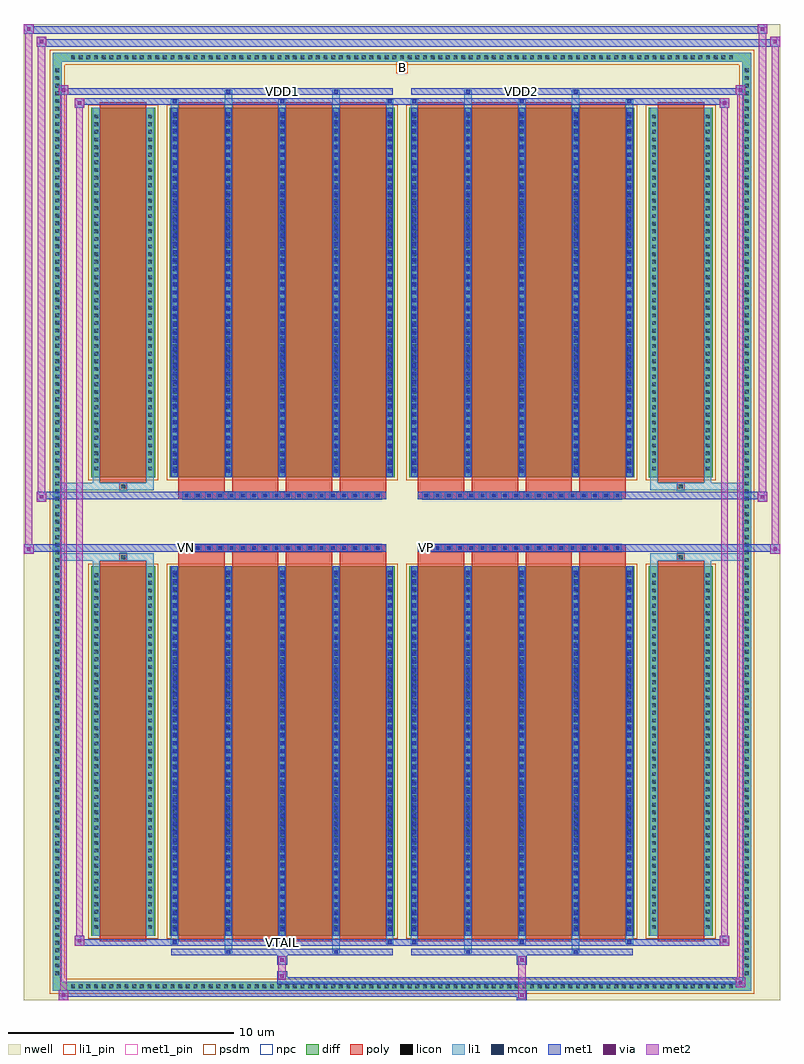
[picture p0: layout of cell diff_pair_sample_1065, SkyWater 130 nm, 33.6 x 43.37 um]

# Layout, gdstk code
import gdstk
lib = gdstk.Library(unit=1e-6, precision=5e-09)
def R(c, l, rs):  # rectangles x0, y0, x1, y1
    for r in rs: c.add(gdstk.rectangle(r[:2], r[2:], *l))
def A(c, l, x, y, w, h, nx, ny, dx, dy):  # array of equal rectangles
    R(c, l, [(x+i*dx, y+j*dy, x+i*dx+w, y+j*dy+h) for i in range(nx) for j in range(ny)])
def P(c, l, *ps):  # polygons
    for p in ps: c.add(gdstk.Polygon(p, *l))
nwell = (64, 20)
diff = (65, 20)
poly = (66, 20)
licon = (66, 44)
li1_pin = (67, 16)
li1 = (67, 20)
mcon = (67, 44)
met1_pin = (68, 16)
met1 = (68, 20)
via = (68, 44)
met2 = (69, 20)
psdm = (94, 20)
npc = (95, 20)

diff_pair_sample_1065 = lib.new_cell('diff_pair_sample_1065')
R(diff_pair_sample_1065, nwell, [(-16.8,-21.25,16.8,22.12), (-14.12,-19.44,-0.01,-0.8), (0.01,-19.44,14.12,-0.8), (-14.12,0.8,-0.01,19.44), (0.01,0.8,14.12,19.44)])
A(diff_pair_sample_1065, diff, -14.825, -20.85, 0.41, 0.41, 87, 2, 0.34, 41.29)
A(diff_pair_sample_1065, diff, -15.53, -20.265, 0.41, 0.41, 1, 119, 0, 0.34)
A(diff_pair_sample_1065, diff, 15.12, -20.265, 0.41, 0.41, 1, 119, 0, 0.34)
R(diff_pair_sample_1065, diff, [(-14.825,-20.85,14.825,-20.44), (-15.53,-20.265,-15.12,20.265), (15.12,-20.265,15.53,20.265), (-13.81,-18.395,-10.97,-1.985), (-10.33,-18.395,-0.32,-1.985), (0.32,-18.395,10.33,-1.985), (10.97,-18.395,13.81,-1.985), (-13.81,1.985,-10.97,18.395), (-10.33,1.985,-0.32,18.395), (0.32,1.985,10.33,18.395), (10.97,1.985,13.81,18.395), (-14.825,20.44,14.825,20.85)])
P(diff_pair_sample_1065, diff, [(15.53,20.85),(-15.53,20.85),(-15.53,-20.44),(-15.12,-20.44),(-15.12,20.44),(15.12,20.44),(15.12,-20.44),(-15.12,-20.44),(-15.53,-20.44),(-15.53,-20.85),(15.53,-20.85)])
A(diff_pair_sample_1065, poly, -9.94, -18.645, 2.06, 16.91, 4, 2, 2.39, 20.38)
A(diff_pair_sample_1065, poly, 0.71, -18.645, 2.06, 16.91, 4, 2, 2.39, 20.38)
A(diff_pair_sample_1065, poly, -9.94, -1.735, 2.06, 0.405, 4, 2, 2.39, 3.065)
A(diff_pair_sample_1065, poly, 0.71, -1.735, 2.06, 0.405, 4, 2, 2.39, 3.065)
A(diff_pair_sample_1065, poly, -9.74, -1.33, 0.33, 0.33, 18, 2, 0.5, 2.33)
A(diff_pair_sample_1065, poly, 0.91, -1.33, 0.33, 0.33, 18, 2, 0.5, 2.33)
R(diff_pair_sample_1065, poly, [(-13.42,-18.645,-11.36,-1.735), (11.36,-18.645,13.42,-1.735), (-12.555,-1.735,-12.225,-1.405), (-12.555,-1.735,-12.225,-1.405), (12.225,-1.735,12.555,-1.405), (12.225,-1.735,12.555,-1.405), (-9.94,-1.33,-0.71,-1), (0.71,-1.33,9.94,-1), (-9.94,1,-0.71,1.33), (0.71,1,9.94,1.33), (-12.555,1.405,-12.225,1.735), (-12.555,1.405,-12.225,1.735), (12.225,1.405,12.555,1.735), (12.225,1.405,12.555,1.735), (-13.42,1.735,-11.36,18.645), (11.36,1.735,13.42,18.645)])
A(diff_pair_sample_1065, licon, -14.705, -20.73, 0.17, 0.17, 87, 2, 0.34, 41.29)
A(diff_pair_sample_1065, licon, -15.41, -20.145, 0.17, 0.17, 1, 119, 0, 0.34)
A(diff_pair_sample_1065, licon, 15.24, -20.145, 0.17, 0.17, 1, 119, 0, 0.34)
A(diff_pair_sample_1065, licon, -13.67, -18.095, 0.17, 0.17, 1, 47, 0, 0.34)
A(diff_pair_sample_1065, licon, -11.28, -18.095, 0.17, 0.17, 1, 47, 0, 0.34)
A(diff_pair_sample_1065, licon, -10.19, -18.095, 0.17, 0.17, 5, 47, 2.39, 0.34)
A(diff_pair_sample_1065, licon, 0.46, -18.095, 0.17, 0.17, 5, 47, 2.39, 0.34)
A(diff_pair_sample_1065, licon, 11.11, -18.095, 0.17, 0.17, 1, 47, 0, 0.34)
A(diff_pair_sample_1065, licon, 13.5, -18.095, 0.17, 0.17, 1, 47, 0, 0.34)
A(diff_pair_sample_1065, licon, -9.66, -1.25, 0.17, 0.17, 18, 2, 0.5, 2.33)
A(diff_pair_sample_1065, licon, 0.99, -1.25, 0.17, 0.17, 18, 2, 0.5, 2.33)
A(diff_pair_sample_1065, licon, -13.67, 2.285, 0.17, 0.17, 1, 47, 0, 0.34)
A(diff_pair_sample_1065, licon, -11.28, 2.285, 0.17, 0.17, 1, 47, 0, 0.34)
A(diff_pair_sample_1065, licon, -10.19, 2.285, 0.17, 0.17, 5, 47, 2.39, 0.34)
A(diff_pair_sample_1065, licon, 0.46, 2.285, 0.17, 0.17, 5, 47, 2.39, 0.34)
A(diff_pair_sample_1065, licon, 11.11, 2.285, 0.17, 0.17, 1, 47, 0, 0.34)
A(diff_pair_sample_1065, licon, 13.5, 2.285, 0.17, 0.17, 1, 47, 0, 0.34)
R(diff_pair_sample_1065, licon, [(-12.475,-1.655,-12.305,-1.485), (12.305,-1.655,12.475,-1.485), (-12.475,1.485,-12.305,1.655), (12.305,1.485,12.475,1.655)])
R(diff_pair_sample_1065, li1_pin, [(-0.25,19.94,0.25,20.44)])
A(diff_pair_sample_1065, li1, -14.785, -20.81, 0.33, 0.33, 87, 2, 0.34, 41.29)
A(diff_pair_sample_1065, li1, -15.49, -20.225, 0.33, 0.33, 1, 119, 0, 0.34)
A(diff_pair_sample_1065, li1, 15.16, -20.225, 0.33, 0.33, 1, 119, 0, 0.34)
A(diff_pair_sample_1065, li1, -10.27, -18.77, 0.33, 0.375, 3, 2, 4.78, 37.165)
A(diff_pair_sample_1065, li1, -10.19, -18.77, 0.17, 0.17, 3, 2, 4.78, 37.37)
A(diff_pair_sample_1065, li1, 0.38, -18.77, 0.33, 0.375, 3, 2, 4.78, 37.165)
A(diff_pair_sample_1065, li1, 0.46, -18.77, 0.17, 0.17, 3, 2, 4.78, 37.37)
A(diff_pair_sample_1065, li1, -10.27, -18.395, 0.33, 16.41, 5, 2, 2.39, 20.38)
A(diff_pair_sample_1065, li1, 0.38, -18.395, 0.33, 16.41, 5, 2, 2.39, 20.38)
A(diff_pair_sample_1065, li1, -10.19, -18.195, 0.17, 0.17, 5, 45, 2.39, 0.36)
A(diff_pair_sample_1065, li1, -10.19, -18.195, 0.17, 16.01, 5, 2, 2.39, 20.38)
A(diff_pair_sample_1065, li1, 0.46, -18.195, 0.17, 0.17, 5, 45, 2.39, 0.36)
A(diff_pair_sample_1065, li1, 0.46, -18.195, 0.17, 16.01, 5, 2, 2.39, 20.38)
A(diff_pair_sample_1065, li1, -13.75, -18.175, 0.33, 0.33, 1, 47, 0, 0.34)
A(diff_pair_sample_1065, li1, -11.36, -18.175, 0.33, 0.33, 1, 47, 0, 0.34)
A(diff_pair_sample_1065, li1, -10.27, -18.175, 0.33, 0.33, 5, 47, 2.39, 0.34)
A(diff_pair_sample_1065, li1, 0.38, -18.175, 0.33, 0.33, 5, 47, 2.39, 0.34)
A(diff_pair_sample_1065, li1, 11.03, -18.175, 0.33, 0.33, 1, 47, 0, 0.34)
A(diff_pair_sample_1065, li1, 13.42, -18.175, 0.33, 0.33, 1, 47, 0, 0.34)
A(diff_pair_sample_1065, li1, -9.74, -1.33, 0.33, 0.33, 18, 2, 0.5, 2.33)
A(diff_pair_sample_1065, li1, 0.91, -1.33, 0.33, 0.33, 18, 2, 0.5, 2.33)
A(diff_pair_sample_1065, li1, -10.19, 2.185, 0.17, 0.17, 5, 45, 2.39, 0.36)
A(diff_pair_sample_1065, li1, 0.46, 2.185, 0.17, 0.17, 5, 45, 2.39, 0.36)
A(diff_pair_sample_1065, li1, -13.75, 2.205, 0.33, 0.33, 1, 47, 0, 0.34)
A(diff_pair_sample_1065, li1, -11.36, 2.205, 0.33, 0.33, 1, 47, 0, 0.34)
A(diff_pair_sample_1065, li1, -10.27, 2.205, 0.33, 0.33, 5, 47, 2.39, 0.34)
A(diff_pair_sample_1065, li1, 0.38, 2.205, 0.33, 0.33, 5, 47, 2.39, 0.34)
A(diff_pair_sample_1065, li1, 11.03, 2.205, 0.33, 0.33, 1, 47, 0, 0.34)
A(diff_pair_sample_1065, li1, 13.42, 2.205, 0.33, 0.33, 1, 47, 0, 0.34)
R(diff_pair_sample_1065, li1, [(-15.53,-20.85,-15.12,-20.44), (-15.53,-20.85,-15.12,-20.44), (-15.12,-20.85,15.12,-20.44), (15.12,-20.85,15.53,-20.44), (15.12,-20.85,15.53,-20.44), (-15.53,-20.44,-15.12,20.44), (15.12,-20.44,15.53,20.44), (-7.88,-19.2,-7.55,-18.395), (-7.8,-19.2,-7.63,-19.03), (-3.1,-19.2,-2.77,-18.395), (-3.02,-19.2,-2.85,-19.03), (2.77,-19.2,3.1,-18.395), (2.85,-19.2,3.02,-19.03), (7.55,-19.2,7.88,-18.395), (7.63,-19.2,7.8,-19.03), (-13.75,-18.395,-13.42,-1.985), (-11.36,-18.395,-11.03,-1.985), (11.03,-18.395,11.36,-1.985), (13.42,-18.395,13.75,-1.985), (-13.75,-1.985,-13.42,-1.405), (-11.36,-1.985,-11.03,-1.405), (11.03,-1.985,11.36,-1.405), (13.42,-1.985,13.75,-1.405), (-15.53,-1.735,-12.555,-1.405), (-13.75,-1.735,-12.555,-1.405), (-12.555,-1.735,-12.225,-1.405), (-12.225,-1.735,-11.03,-1.405), (11.03,-1.735,12.225,-1.405), (12.225,-1.735,12.555,-1.405), (12.225,-1.735,15.53,-1.405), (12.555,-1.735,13.75,-1.405), (-15.53,1.405,-12.555,1.735), (-13.75,1.405,-12.555,1.735), (-13.75,1.405,-13.42,1.985), (-12.555,1.405,-12.225,1.735), (-12.225,1.405,-11.03,1.735), (-11.36,1.405,-11.03,1.985), (11.03,1.405,12.225,1.735), (11.03,1.405,11.36,1.985), (12.225,1.405,12.555,1.735), (12.225,1.405,15.53,1.735), (12.555,1.405,13.75,1.735), (13.42,1.405,13.75,1.985), (-13.75,1.985,-13.42,18.395), (-11.36,1.985,-11.03,18.395), (11.03,1.985,11.36,18.395), (13.42,1.985,13.75,18.395), (-7.88,18.395,-7.55,19.2), (-3.1,18.395,-2.77,19.2), (2.77,18.395,3.1,19.2), (7.55,18.395,7.88,19.2), (-7.8,19.03,-7.63,19.2), (-3.02,19.03,-2.85,19.2), (2.85,19.03,3.02,19.2), (7.63,19.03,7.8,19.2), (-15.53,20.44,-15.12,20.85), (-15.53,20.44,-15.12,20.85), (-15.12,20.44,15.12,20.85), (15.12,20.44,15.53,20.85), (15.12,20.44,15.53,20.85)])
A(diff_pair_sample_1065, mcon, -10.19, -18.77, 0.17, 0.17, 3, 2, 4.78, 37.37)
A(diff_pair_sample_1065, mcon, 0.46, -18.77, 0.17, 0.17, 3, 2, 4.78, 37.37)
A(diff_pair_sample_1065, mcon, -10.19, -18.195, 0.17, 0.17, 5, 45, 2.39, 0.36)
A(diff_pair_sample_1065, mcon, 0.46, -18.195, 0.17, 0.17, 5, 45, 2.39, 0.36)
A(diff_pair_sample_1065, mcon, -9.66, -1.25, 0.17, 0.17, 18, 2, 0.5, 2.33)
A(diff_pair_sample_1065, mcon, 0.99, -1.25, 0.17, 0.17, 18, 2, 0.5, 2.33)
A(diff_pair_sample_1065, mcon, -10.19, 2.185, 0.17, 0.17, 5, 45, 2.39, 0.36)
A(diff_pair_sample_1065, mcon, 0.46, 2.185, 0.17, 0.17, 5, 45, 2.39, 0.36)
R(diff_pair_sample_1065, mcon, [(-7.8,-19.2,-7.63,-19.03), (-3.02,-19.2,-2.85,-19.03), (2.85,-19.2,3.02,-19.03), (7.63,-19.2,7.8,-19.03), (-7.8,19.03,-7.63,19.2), (-3.02,19.03,-2.85,19.2), (2.85,19.03,3.02,19.2), (7.63,19.03,7.8,19.2)])
R(diff_pair_sample_1065, met1_pin, [(-5.46,-18.81,-5.19,-18.54), (-9.71,-1.29,-9.44,-1.02), (0.94,-1.29,1.21,-1.02), (-5.46,18.99,-5.19,19.26), (5.19,18.99,5.46,19.26)])
A(diff_pair_sample_1065, met1, -10.25, -18.83, 0.29, 0.29, 3, 2, 4.78, 37.37)
A(diff_pair_sample_1065, met1, 0.4, -18.83, 0.29, 0.29, 3, 2, 4.78, 37.37)
A(diff_pair_sample_1065, met1, -10.25, -18.395, 0.29, 16.41, 5, 2, 2.39, 20.38)
A(diff_pair_sample_1065, met1, 0.4, -18.395, 0.29, 16.41, 5, 2, 2.39, 20.38)
A(diff_pair_sample_1065, met1, -10.25, -18.255, 0.29, 0.29, 5, 45, 2.39, 0.36)
A(diff_pair_sample_1065, met1, 0.4, -18.255, 0.29, 0.29, 5, 45, 2.39, 0.36)
A(diff_pair_sample_1065, met1, -9.72, -1.31, 0.29, 0.29, 18, 2, 0.5, 2.33)
A(diff_pair_sample_1065, met1, 0.93, -1.31, 0.29, 0.29, 18, 2, 0.5, 2.33)
A(diff_pair_sample_1065, met1, -10.25, 2.125, 0.29, 0.29, 5, 45, 2.39, 0.36)
A(diff_pair_sample_1065, met1, 0.4, 2.125, 0.29, 0.29, 5, 45, 2.39, 0.36)
R(diff_pair_sample_1065, met1, [(-15.26,-21.25,-14.83,-20.82), (5.11,-21.25,5.54,-20.82), (-15.26,-21.11,5.54,-20.82), (14.83,-20.68,15.26,-20.25), (-5.54,-20.54,15.26,-20.25), (-5.54,-20.4,-5.11,-19.97), (-5.54,-19.69,-5.11,-19.26), (5.11,-19.69,5.54,-19.26), (-10.25,-19.26,-0.4,-18.97), (-7.86,-19.26,-7.57,-18.97), (-3.08,-19.26,-2.79,-18.97), (0.4,-19.26,10.25,-18.97), (2.79,-19.26,3.08,-18.97), (7.57,-19.26,7.86,-18.97), (-14.55,-18.83,-14.12,-18.4), (-14.55,-18.83,-10.25,-18.54), (-10.25,-18.83,-0.4,-18.54), (-0.4,-18.83,0.4,-18.54), (0.4,-18.83,10.25,-18.54), (10.25,-18.83,14.55,-18.54), (14.12,-18.83,14.55,-18.4), (-16.8,-1.43,-16.37,-1), (16.37,-1.43,16.8,-1), (-16.8,-1.33,-0.71,-1), (-9.94,-1.33,-0.71,-1), (0.71,-1.33,9.94,-1), (0.71,-1.33,16.8,-1), (-16.23,0.9,-15.8,1.33), (15.8,0.9,16.23,1.33), (-16.23,1,-9.94,1.33), (-9.94,1,-0.71,1.33), (0.71,1,9.94,1.33), (9.94,1,16.23,1.33), (-14.55,18.4,-14.12,18.83), (14.12,18.4,14.55,18.83), (-14.55,18.54,-10.25,18.83), (-10.25,18.54,-0.4,18.83), (-0.4,18.54,0.4,18.83), (0.4,18.54,10.25,18.83), (10.25,18.54,14.55,18.83), (-15.26,18.97,-14.83,19.4), (-15.26,18.97,-10.25,19.26), (-10.25,18.97,-0.4,19.26), (-7.86,18.97,-7.57,19.26), (-3.08,18.97,-2.79,19.26), (0.4,18.97,10.25,19.26), (2.79,18.97,3.08,19.26), (7.57,18.97,7.86,19.26), (10.25,18.97,15.26,19.26), (14.83,18.97,15.26,19.4), (-16.23,21.12,-15.8,21.55), (-16.23,21.12,-14.12,21.45), (-14.12,21.12,14.12,21.45), (14.12,21.12,16.8,21.45), (16.37,21.12,16.8,21.55), (-16.8,21.69,-16.37,22.12), (-16.8,21.69,-14.12,22.02), (-14.12,21.69,14.12,22.02), (14.12,21.69,16.23,22.02), (15.8,21.69,16.23,22.12)])
R(diff_pair_sample_1065, via, [(-15.12,-21.11,-14.97,-20.96), (5.25,-21.11,5.4,-20.96), (14.97,-20.54,15.12,-20.39), (-5.4,-20.26,-5.25,-20.11), (-5.4,-19.55,-5.25,-19.4), (5.25,-19.55,5.4,-19.4), (-14.41,-18.69,-14.26,-18.54), (14.26,-18.69,14.41,-18.54), (-16.66,-1.29,-16.51,-1.14), (16.51,-1.29,16.66,-1.14), (-16.09,1.04,-15.94,1.19), (15.94,1.04,16.09,1.19), (-14.41,18.54,-14.26,18.69), (14.26,18.54,14.41,18.69), (-15.12,19.11,-14.97,19.26), (14.97,19.11,15.12,19.26), (-16.09,21.26,-15.94,21.41), (16.51,21.26,16.66,21.41), (-16.66,21.83,-16.51,21.98), (15.94,21.83,16.09,21.98)])
R(diff_pair_sample_1065, met2, [(-15.26,-21.25,-14.83,-20.82), (-15.19,-21.25,-14.9,19.4), (-14.9,-21.25,-14.83,-20.82), (-15.21,-21.2,-14.88,-20.87), (5.16,-21.2,5.49,-20.87), (5.16,-20.87,5.49,-19.64), (14.83,-20.68,15.26,-20.25), (14.9,-20.68,15.19,19.4), (15.19,-20.68,15.26,-20.25), (14.88,-20.63,15.21,-20.3), (-5.49,-20.35,-5.16,-20.02), (-5.49,-20.02,-5.16,-19.64), (-5.49,-19.64,-5.16,-19.31), (5.16,-19.64,5.49,-19.31), (-14.55,-18.83,-14.12,-18.4), (-14.48,-18.83,-14.19,18.83), (-14.19,-18.83,-14.12,-18.4), (14.12,-18.83,14.55,-18.4), (14.19,-18.83,14.48,18.83), (14.48,-18.83,14.55,-18.4), (-14.5,-18.78,-14.17,-18.45), (14.17,-18.78,14.5,-18.45), (-16.8,-1.43,-16.37,-1), (-16.75,-1.43,-16.42,22.12), (-16.42,-1.43,-16.37,-1), (16.37,-1.43,16.8,-1), (16.42,-1.43,16.75,21.55), (16.75,-1.43,16.8,-1), (-16.75,-1.38,-16.42,-1.05), (16.42,-1.38,16.75,-1.05), (-16.23,0.9,-15.8,1.33), (-16.18,0.9,-15.85,21.55), (-15.85,0.9,-15.8,1.33), (15.8,0.9,16.23,1.33), (15.85,0.9,16.18,22.12), (16.18,0.9,16.23,1.33), (-16.18,0.95,-15.85,1.28), (15.85,0.95,16.18,1.28), (-14.55,18.4,-14.12,18.83), (-14.19,18.4,-14.12,18.83), (14.12,18.4,14.55,18.83), (14.48,18.4,14.55,18.83), (-14.5,18.45,-14.17,18.78), (14.17,18.45,14.5,18.78), (-15.26,18.97,-14.83,19.4), (-14.9,18.97,-14.83,19.4), (14.83,18.97,15.26,19.4), (15.19,18.97,15.26,19.4), (-15.21,19.02,-14.88,19.35), (14.88,19.02,15.21,19.35), (-16.23,21.12,-15.8,21.55), (-15.85,21.12,-15.8,21.55), (16.37,21.12,16.8,21.55), (16.75,21.12,16.8,21.55), (-16.18,21.17,-15.85,21.5), (16.42,21.17,16.75,21.5), (-16.8,21.69,-16.37,22.12), (-16.42,21.69,-16.37,22.12), (15.8,21.69,16.23,22.12), (16.18,21.69,16.23,22.12), (-16.75,21.74,-16.42,22.07), (15.85,21.74,16.18,22.07)])
R(diff_pair_sample_1065, psdm, [(-13.94,-18.525,-10.84,-1.855), (-10.46,-18.525,-0.19,-1.855), (0.19,-18.525,10.46,-1.855), (10.84,-18.525,13.94,-1.855), (-13.94,1.855,-10.84,18.525), (-10.46,1.855,-0.19,18.525), (0.19,1.855,10.46,18.525), (10.84,1.855,13.94,18.525)])
P(diff_pair_sample_1065, psdm, [(15.66,20.98),(-15.66,20.98),(-15.66,-20.31),(-14.99,-20.31),(-14.99,20.31),(14.99,20.31),(14.99,-20.31),(-14.99,-20.31),(-15.66,-20.31),(-15.66,-20.98),(15.66,-20.98)])
A(diff_pair_sample_1065, npc, -9.76, -1.35, 0.37, 0.37, 18, 2, 0.5, 2.33)
A(diff_pair_sample_1065, npc, 0.89, -1.35, 0.37, 0.37, 18, 2, 0.5, 2.33)
R(diff_pair_sample_1065, npc, [(-12.575,-1.755,-12.205,-1.385), (12.205,-1.755,12.575,-1.385), (-9.76,-1.35,-8.89,-0.98), (-9.76,-1.35,-8.89,-0.98), (-9.26,-1.35,-8.39,-0.98), (-9.26,-1.35,-8.39,-0.98), (-8.76,-1.35,-7.89,-0.98), (-8.76,-1.35,-7.89,-0.98), (-8.26,-1.35,-7.39,-0.98), (-8.26,-1.35,-7.39,-0.98), (-7.76,-1.35,-6.89,-0.98), (-7.76,-1.35,-6.89,-0.98), (-7.26,-1.35,-6.39,-0.98), (-7.26,-1.35,-6.39,-0.98), (-6.76,-1.35,-5.89,-0.98), (-6.76,-1.35,-5.89,-0.98), (-6.26,-1.35,-5.39,-0.98), (-6.26,-1.35,-5.39,-0.98), (-5.76,-1.35,-4.89,-0.98), (-5.76,-1.35,-4.89,-0.98), (-5.26,-1.35,-4.39,-0.98), (-5.26,-1.35,-4.39,-0.98), (-4.76,-1.35,-3.89,-0.98), (-4.76,-1.35,-3.89,-0.98), (-4.26,-1.35,-3.39,-0.98), (-4.26,-1.35,-3.39,-0.98), (-3.76,-1.35,-2.89,-0.98), (-3.76,-1.35,-2.89,-0.98), (-3.26,-1.35,-2.39,-0.98), (-3.26,-1.35,-2.39,-0.98), (-2.76,-1.35,-1.89,-0.98), (-2.76,-1.35,-1.89,-0.98), (-2.26,-1.35,-1.39,-0.98), (-2.26,-1.35,-1.39,-0.98), (-1.76,-1.35,-0.89,-0.98), (-1.76,-1.35,-0.89,-0.98), (0.89,-1.35,1.76,-0.98), (0.89,-1.35,1.76,-0.98), (1.39,-1.35,2.26,-0.98), (1.39,-1.35,2.26,-0.98), (1.89,-1.35,2.76,-0.98), (1.89,-1.35,2.76,-0.98), (2.39,-1.35,3.26,-0.98), (2.39,-1.35,3.26,-0.98), (2.89,-1.35,3.76,-0.98), (2.89,-1.35,3.76,-0.98), (3.39,-1.35,4.26,-0.98), (3.39,-1.35,4.26,-0.98), (3.89,-1.35,4.76,-0.98), (3.89,-1.35,4.76,-0.98), (4.39,-1.35,5.26,-0.98), (4.39,-1.35,5.26,-0.98), (4.89,-1.35,5.76,-0.98), (4.89,-1.35,5.76,-0.98), (5.39,-1.35,6.26,-0.98), (5.39,-1.35,6.26,-0.98), (5.89,-1.35,6.76,-0.98), (5.89,-1.35,6.76,-0.98), (6.39,-1.35,7.26,-0.98), (6.39,-1.35,7.26,-0.98), (6.89,-1.35,7.76,-0.98), (6.89,-1.35,7.76,-0.98), (7.39,-1.35,8.26,-0.98), (7.39,-1.35,8.26,-0.98), (7.89,-1.35,8.76,-0.98), (7.89,-1.35,8.76,-0.98), (8.39,-1.35,9.26,-0.98), (8.39,-1.35,9.26,-0.98), (8.89,-1.35,9.76,-0.98), (8.89,-1.35,9.76,-0.98), (-9.76,0.98,-8.89,1.35), (-9.76,0.98,-8.89,1.35), (-9.26,0.98,-8.39,1.35), (-9.26,0.98,-8.39,1.35), (-8.76,0.98,-7.89,1.35), (-8.76,0.98,-7.89,1.35), (-8.26,0.98,-7.39,1.35), (-8.26,0.98,-7.39,1.35), (-7.76,0.98,-6.89,1.35), (-7.76,0.98,-6.89,1.35), (-7.26,0.98,-6.39,1.35), (-7.26,0.98,-6.39,1.35), (-6.76,0.98,-5.89,1.35), (-6.76,0.98,-5.89,1.35), (-6.26,0.98,-5.39,1.35), (-6.26,0.98,-5.39,1.35), (-5.76,0.98,-4.89,1.35), (-5.76,0.98,-4.89,1.35), (-5.26,0.98,-4.39,1.35), (-5.26,0.98,-4.39,1.35), (-4.76,0.98,-3.89,1.35), (-4.76,0.98,-3.89,1.35), (-4.26,0.98,-3.39,1.35), (-4.26,0.98,-3.39,1.35), (-3.76,0.98,-2.89,1.35), (-3.76,0.98,-2.89,1.35), (-3.26,0.98,-2.39,1.35), (-3.26,0.98,-2.39,1.35), (-2.76,0.98,-1.89,1.35), (-2.76,0.98,-1.89,1.35), (-2.26,0.98,-1.39,1.35), (-2.26,0.98,-1.39,1.35), (-1.76,0.98,-0.89,1.35), (-1.76,0.98,-0.89,1.35), (0.89,0.98,1.76,1.35), (0.89,0.98,1.76,1.35), (1.39,0.98,2.26,1.35), (1.39,0.98,2.26,1.35), (1.89,0.98,2.76,1.35), (1.89,0.98,2.76,1.35), (2.39,0.98,3.26,1.35), (2.39,0.98,3.26,1.35), (2.89,0.98,3.76,1.35), (2.89,0.98,3.76,1.35), (3.39,0.98,4.26,1.35), (3.39,0.98,4.26,1.35), (3.89,0.98,4.76,1.35), (3.89,0.98,4.76,1.35), (4.39,0.98,5.26,1.35), (4.39,0.98,5.26,1.35), (4.89,0.98,5.76,1.35), (4.89,0.98,5.76,1.35), (5.39,0.98,6.26,1.35), (5.39,0.98,6.26,1.35), (5.89,0.98,6.76,1.35), (5.89,0.98,6.76,1.35), (6.39,0.98,7.26,1.35), (6.39,0.98,7.26,1.35), (6.89,0.98,7.76,1.35), (6.89,0.98,7.76,1.35), (7.39,0.98,8.26,1.35), (7.39,0.98,8.26,1.35), (7.89,0.98,8.76,1.35), (7.89,0.98,8.76,1.35), (8.39,0.98,9.26,1.35), (8.39,0.98,9.26,1.35), (8.89,0.98,9.76,1.35), (8.89,0.98,9.76,1.35), (-12.575,1.385,-12.205,1.755), (12.205,1.385,12.575,1.755)])
diff_pair_sample_1065.add(gdstk.Label('VTAIL', (-5.325,-18.675), layer=68, texttype=5))
diff_pair_sample_1065.add(gdstk.Label('VN', (-9.575,-1.155), layer=68, texttype=5))
diff_pair_sample_1065.add(gdstk.Label('VP', (1.075,-1.155), layer=68, texttype=5))
diff_pair_sample_1065.add(gdstk.Label('B', (0,20.19), layer=67, texttype=5))
diff_pair_sample_1065.add(gdstk.Label('VDD2', (5.325,19.125), layer=68, texttype=5))
diff_pair_sample_1065.add(gdstk.Label('VDD1', (-5.325,19.125), layer=68, texttype=5))

lib.write_gds('diff_pair_sample_1065.gds')
